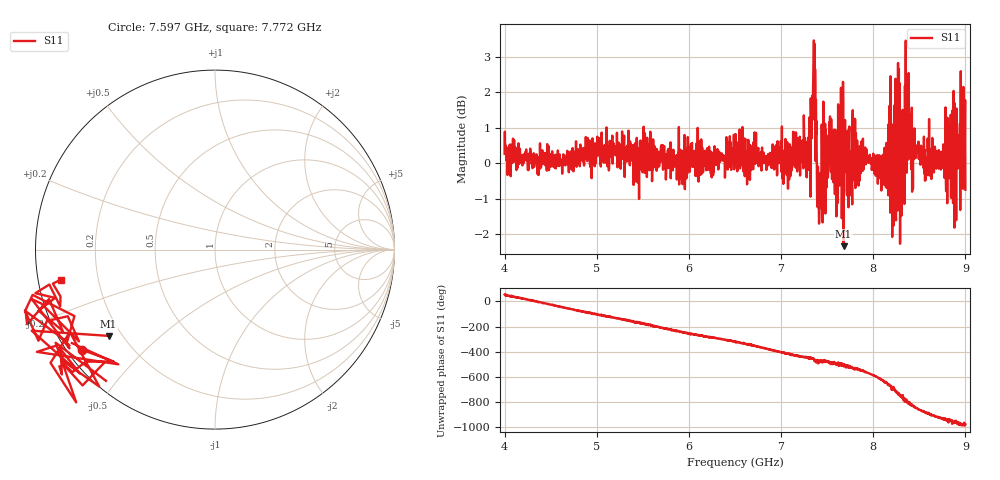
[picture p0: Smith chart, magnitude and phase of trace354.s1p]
! Created with skrf 1.8.0 (http://scikit-rf.org).
# Hz S RI R 50.0
!freq ReS11 ImS11
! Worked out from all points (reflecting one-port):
!   1601 points, 4 GHz to 9 GHz, reference 50 ohm
!   lowest |S11| = -2.3 dB at 7.678 GHz (marker M1), VSWR 7.45, Z = 7.54 - j17.4 ohm
!   phase of S11 starts at 54 deg and turns -1030 deg over the sweep
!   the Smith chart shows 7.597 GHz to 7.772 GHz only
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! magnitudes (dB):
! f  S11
! 4 GHz  0.3
! 4.625 GHz  -0.3
! 5.25 GHz  0.3
! 5.875 GHz  0.1
! 6.5 GHz  0.3
! 7.125 GHz  0.2
! 7.294 GHz  -0.2
! 7.347 GHz  2.1
! 7.366 GHz  1.6
! 7.412 GHz  -1.7
! 7.509 GHz  -0.4
! 7.578 GHz  0.6
! 7.65 GHz  2.1
! 7.678 GHz  -2.3
! 7.75 GHz  0.3
! 7.891 GHz  0.0
! 8.075 GHz  0.1
! 8.178 GHz  1.6
! 8.228 GHz  1.6
! 8.262 GHz  -1.3
! 8.316 GHz  0.8
! 8.334 GHz  -0.1
! 8.375 GHz  0.8
! 8.425 GHz  0.3
! 8.634 GHz  0.4
! 8.903 GHz  1.5
! 8.972 GHz  0.7
! 9 GHz  -0.8
